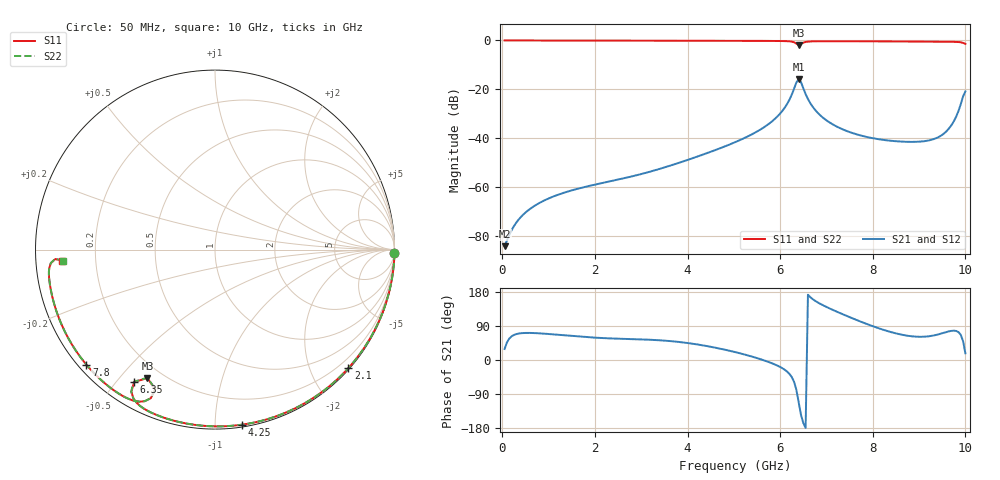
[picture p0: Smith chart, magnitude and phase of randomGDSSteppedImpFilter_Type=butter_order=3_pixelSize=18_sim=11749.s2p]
! freq	dB(S11)	phase(S11)	dB(S12)	phase(S12)
!  dB(S21)	phase(S21)	dB(S22)	phase(S22)
!S-par simulation data
#  GHz  S  DB  R 50
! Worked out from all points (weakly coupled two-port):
!   200 points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, 50 MHz to 10 GHz, reference 50 ohm
!   highest |S21| = -15.79 dB at 6.4 GHz (marker M1); lowest = -84.3 dB at 50 MHz (marker M2)
!   lowest |S11| = -1.8 dB at 6.4 GHz (marker M3), VSWR 9.46, Z = 7.19 - j29.7 ohm
!   |S11| at or under -10 dB: nowhere
!   |S22| runs from -1.9 to 0.0 dB; largest |S21 - S12| = 0
!   S11 on the Smith chart (normalised r, x): 50 MHz: open; 2.1 GHz: 0.02, -2.63; 4.25 GHz: 0.02, -1.17; 6.35 GHz: 0.10, -0.56; 7.8 GHz: 0.02, -0.38; 10 GHz: 0.08, -0.04
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0.05  -0.00 -1.0  -84.28 29.1  -84.28 29.1  -0.00 -1.0
0.15  -0.00 -3.0  -79.70 56.4  -79.70 56.4  -0.00 -3.0
0.35  -0.00 -7.1  -73.45 69.7  -73.45 69.7  -0.00 -7.1
0.7  -0.01 -14.2  -67.71 71.1  -67.71 71.1  -0.01 -14.2
1.75  -0.04 -34.9  -60.17 61.0  -60.17 61.0  -0.04 -34.9
2.1  -0.05 -41.7  -58.65 58.3  -58.65 58.3  -0.05 -41.7
3.4  -0.09 -66.0  -52.60 52.0  -52.60 52.0  -0.09 -66.1
4.25  -0.11 -81.2  -47.31 40.3  -47.31 40.3  -0.11 -81.3
5.05  -0.15 -95.1  -41.50 20.2  -41.50 20.2  -0.15 -95.2
5.95  -0.22 -111.1  -30.95 -15.3  -30.95 -15.3  -0.22 -111.2
6.15  -0.30 -115.6  -26.02 -30.6  -26.02 -30.6  -0.30 -115.7
6.35  -1.26 -121.4  -17.21 -78.5  -17.21 -78.5  -1.27 -121.5
6.4  -1.84 -117.7  -15.79 -111.4  -15.79 -111.4  -1.87 -117.8
6.5  -0.90 -113.4  -19.59 -166.3  -19.59 -166.3  -0.91 -113.3
6.7  -0.37 -118.9  -27.10 160.9  -27.10 160.9  -0.37 -118.9
7.15  -0.30 -127.5  -34.54 131.5  -34.54 131.5  -0.30 -127.5
7.8  -0.34 -138.2  -39.23 98.3  -39.23 98.3  -0.34 -138.3
8.35  -0.39 -147.1  -41.02 75.1  -41.02 75.1  -0.39 -147.2
9.1  -0.47 -159.5  -41.30 61.4  -41.30 61.4  -0.47 -159.5
9.5  -0.52 -166.4  -38.67 70.5  -38.67 70.5  -0.52 -166.5
9.75  -0.57 -171.3  -33.12 77.4  -33.12 77.4  -0.57 -171.4
10  -1.38 -175.7  -20.87 17.6  -20.87 17.6  -1.40 -175.8
